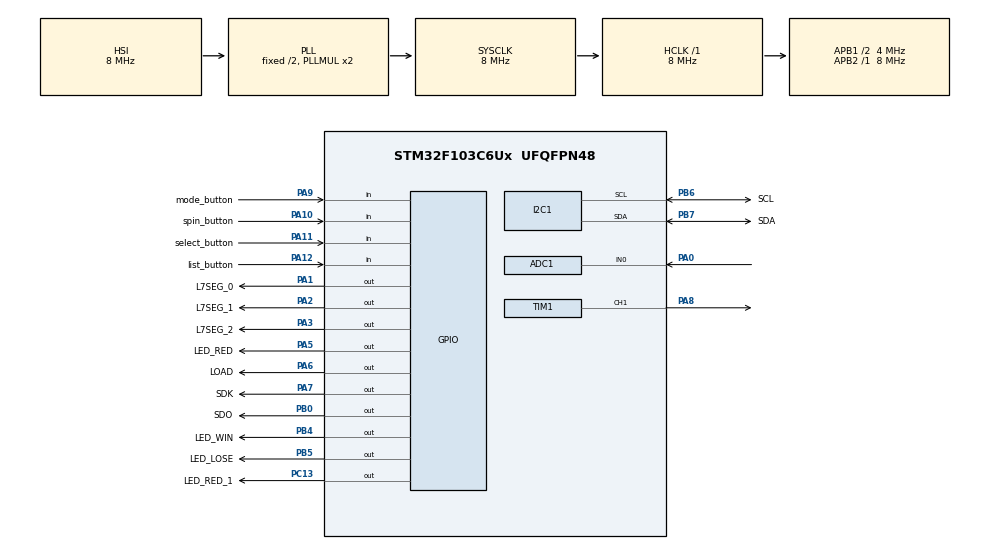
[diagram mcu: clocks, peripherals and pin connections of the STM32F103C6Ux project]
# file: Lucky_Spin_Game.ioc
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ADC1.Channel-3\#ChannelRegularConversion=ADC_CHANNEL_0
ADC1.ContinuousConvMode=ENABLE
ADC1.NbrOfConversionFlag=1
ADC1.Rank-3\#ChannelRegularConversion=1
ADC1.SamplingTime-3\#ChannelRegularConversion=ADC_SAMPLETIME_1CYCLE_5
ADC1.master=1
Mcu.Family=STM32F1
Mcu.Name=STM32F103C6Ux
Mcu.Package=UFQFPN48
NVIC.ADC1_2_IRQn=true\:0\:0\:false\:false\:true\:true\:true
NVIC.PriorityGroup=NVIC_PRIORITYGROUP_4
NVIC.TIM2_IRQn=true\:0\:0\:false\:false\:true\:true\:true
PA0-WKUP.Signal=ADCx_IN0
PA1.GPIO_Label=L7SEG_0
PA1.Signal=GPIO_Output
PA10.GPIO_Label=spin_button
PA10.GPIO_PuPd=GPIO_PULLUP
PA10.Signal=GPIO_Input
PA11.GPIO_Label=select_button
PA11.GPIO_PuPd=GPIO_PULLUP
PA11.Signal=GPIO_Input
PA12.GPIO_Label=list_button
PA12.GPIO_PuPd=GPIO_PULLUP
PA12.Signal=GPIO_Input
PA13.Mode=Serial_Wire
PA13.Signal=SYS_JTMS-SWDIO
PA14.Mode=Serial_Wire
PA14.Signal=SYS_JTCK-SWCLK
PA2.GPIO_Label=L7SEG_1
PA2.Signal=GPIO_Output
PA3.GPIO_Label=L7SEG_2
PA3.Signal=GPIO_Output
PA5.GPIO_Label=LED_RED
PA5.Signal=GPIO_Output
PA6.GPIO_Label=LOAD
PA6.Signal=GPIO_Output
PA7.GPIO_Label=SDK
PA7.Signal=GPIO_Output
PA8.Signal=S_TIM1_CH1
PA9.GPIO_Label=mode_button
PA9.GPIO_PuPd=GPIO_PULLUP
PA9.Signal=GPIO_Input
PB0.GPIO_Label=SDO
PB0.Signal=GPIO_Output
PB4.GPIO_Label=LED_WIN
PB4.Signal=GPIO_Output
PB5.GPIO_Label=LED_LOSE
PB5.Signal=GPIO_Output
PB6.GPIO_Label=SCL
PB6.Mode=I2C
PB6.Signal=I2C1_SCL
PB7.GPIO_Label=SDA
PB7.Mode=I2C
PB7.Signal=I2C1_SDA
PC13-TAMPER-RTC.GPIO_Label=LED_RED_1
PC13-TAMPER-RTC.Signal=GPIO_Output
ProjectManager.HeapSize=0x200
ProjectManager.StackSize=0x400
ProjectManager.TargetToolchain=STM32CubeIDE
RCC.ADCPresc=RCC_ADCPCLK2_DIV6
RCC.AHBFreq_Value=8000000
RCC.APB1CLKDivider=RCC_HCLK_DIV2
RCC.APB1Freq_Value=4000000
RCC.APB1TimFreq_Value=8000000
RCC.APB2Freq_Value=8000000
RCC.APB2TimFreq_Value=8000000
RCC.HCLKFreq_Value=8000000
RCC.SYSCLKFreq_VALUE=8000000
RCC.SYSCLKSource=RCC_SYSCLKSOURCE_PLLCLK
RCC.USBFreq_Value=8000000
SH.ADCx_IN0.0=ADC1_IN0,IN0
SH.S_TIM1_CH1.0=TIM1_CH1,PWM Generation1 CH1
TIM1.Channel-PWM\ Generation1\ CH1=TIM_CHANNEL_1
TIM1.Period=9999
TIM1.Prescaler=7
TIM2.Period=9
TIM2.Prescaler=7999
VP_TIM1_VS_ClockSourceINT.Mode=Internal
VP_TIM2_VS_ClockSourceINT.Mode=Internal
board=custom

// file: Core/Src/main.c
/* USER CODE BEGIN Header */
/**
  ******************************************************************************
  * @file           : main.c
  * @brief          : Main program body
  ******************************************************************************
  * @attention
  *
  * <h2><center>&copy; Copyright (c) 2026 STMicroelectronics.
  * All rights reserved.</center></h2>
  *
  * This software component is licensed by ST under BSD 3-Clause license,
  * the "License"; You may not use this file except in compliance with the
  * License. You may obtain a copy of the License at:
  *                        opensource.org/licenses/BSD-3-Clause
  *
  ******************************************************************************
  */
/* USER CODE END Header */
#include "main.h"

/* USER CODE BEGIN Includes */
#include "software_timer.h"
#include "button.h"
#include "random_gen.h"
#include "display_7SEG.h"
#include "logic_game.h"
#include "global.h"
#include "display_LCD.h"
#include "i2c_lcd.h"
#include "led_anounce.h"
#include "stm32f1xx_hal.h"
#include "string.h"
#include "buzzer.h"
/* USER CODE END Includes */

ADC_HandleTypeDef hadc1;

I2C_HandleTypeDef hi2c1;

TIM_HandleTypeDef htim1;
TIM_HandleTypeDef htim2;

void SystemClock_Config(void);
static void MX_GPIO_Init(void);
static void MX_TIM2_Init(void);
static void MX_ADC1_Init(void);
static void MX_I2C1_Init(void);
static void MX_TIM1_Init(void);

int main(void)
{

  /* MCU Configuration--------------------------------------------------------*/

  /* Reset of all peripherals, Initializes the Flash interface and the Systick. */
  HAL_Init();

  /* USER CODE BEGIN Init */
  Led_Announce_Init();
  Button_Init();
  HAL_Delay(100);
  /* USER CODE END Init */

  /* Configure the system clock */
  SystemClock_Config();

  /* Initialize all configured peripherals */
  MX_GPIO_Init();
  MX_TIM2_Init();
  MX_ADC1_Init();
  MX_I2C1_Init();
  MX_TIM1_Init();
  /* USER CODE BEGIN 2 */
  HAL_TIM_Base_Start_IT(&htim2);
  HAL_ADC_Start(&hadc1);

  display_init();
  HAL_GPIO_WritePin(LED_RED_GPIO_Port, LED_RED_Pin, SET);

  lcd_init();
  HAL_Delay(100);

  setTimer(TIMER_LED_BLINKY, 100);
  setTimer(TIMER_LOGIC_GAME, 100);

  lcd_clear_display();
  lcd_goto_XY(0, 5);
  lcd_send_string("Welcome To");

  lcd_goto_XY(2, 3);
  lcd_send_string("Lucky Spin Game");

  HAL_Delay(1000);
  lcd_clear_display();

  PlayWelcomeTune();
  /* USER CODE END 2 */

  /* Infinite loop */
  /* USER CODE BEGIN WHILE */
  while (1)
  {
	  Led_Announce_Process();
	  //led blinky
	  if(isTimerExpired(TIMER_LED_BLINKY) == 1){
		  HAL_GPIO_TogglePin(LED_RED_GPIO_Port, LED_RED_Pin);
		  setTimer(TIMER_LED_BLINKY, 1000);
	  }

	  if(isTimerExpired(TIMER_LOGIC_GAME) == 1){
		  logic_game();
		  Led_Announce_Process();
		  setTimer(TIMER_LOGIC_GAME, 10);
	  }
    /* USER CODE END WHILE */

  }
}

void SystemClock_Config(void)
{
  RCC_OscInitTypeDef RCC_OscInitStruct = {0};
  RCC_ClkInitTypeDef RCC_ClkInitStruct = {0};
  RCC_PeriphCLKInitTypeDef PeriphClkInit = {0};

  /** Initializes the RCC Oscillators according to the specified parameters
  * in the RCC_OscInitTypeDef structure.
  */
  RCC_OscInitStruct.OscillatorType = RCC_OSCILLATORTYPE_HSI;
  RCC_OscInitStruct.HSIState = RCC_HSI_ON;
  RCC_OscInitStruct.HSICalibrationValue = RCC_HSICALIBRATION_DEFAULT;
  RCC_OscInitStruct.PLL.PLLState = RCC_PLL_ON;
  RCC_OscInitStruct.PLL.PLLSource = RCC_PLLSOURCE_HSI_DIV2;
  RCC_OscInitStruct.PLL.PLLMUL = RCC_PLL_MUL2;
  if (HAL_RCC_OscConfig(&RCC_OscInitStruct) != HAL_OK)
  {
    Error_Handler();
  }
  /** Initializes the CPU, AHB and APB buses clocks
  */
  RCC_ClkInitStruct.ClockType = RCC_CLOCKTYPE_HCLK|RCC_CLOCKTYPE_SYSCLK
                              |RCC_CLOCKTYPE_PCLK1|RCC_CLOCKTYPE_PCLK2;
  RCC_ClkInitStruct.SYSCLKSource = RCC_SYSCLKSOURCE_PLLCLK;
  RCC_ClkInitStruct.AHBCLKDivider = RCC_SYSCLK_DIV1;
  RCC_ClkInitStruct.APB1CLKDivider = RCC_HCLK_DIV2;
  RCC_ClkInitStruct.APB2CLKDivider = RCC_HCLK_DIV1;

  if (HAL_RCC_ClockConfig(&RCC_ClkInitStruct, FLASH_LATENCY_0) != HAL_OK)
  {
    Error_Handler();
  }
  PeriphClkInit.PeriphClockSelection = RCC_PERIPHCLK_ADC;
  PeriphClkInit.AdcClockSelection = RCC_ADCPCLK2_DIV6;
  if (HAL_RCCEx_PeriphCLKConfig(&PeriphClkInit) != HAL_OK)
  {
    Error_Handler();
  }
}

static void MX_ADC1_Init(void)
{

  ADC_ChannelConfTypeDef sConfig = {0};

  /** Common config
  */
  hadc1.Instance = ADC1;
  hadc1.Init.ScanConvMode = ADC_SCAN_DISABLE;
  hadc1.Init.ContinuousConvMode = ENABLE;
  hadc1.Init.DiscontinuousConvMode = DISABLE;
  hadc1.Init.ExternalTrigConv = ADC_SOFTWARE_START;
  hadc1.Init.DataAlign = ADC_DATAALIGN_RIGHT;
  hadc1.Init.NbrOfConversion = 1;
  if (HAL_ADC_Init(&hadc1) != HAL_OK)
  {
    Error_Handler();
  }
  /** Configure Regular Channel
  */
  sConfig.Channel = ADC_CHANNEL_0;
  sConfig.Rank = ADC_REGULAR_RANK_1;
  sConfig.SamplingTime = ADC_SAMPLETIME_1CYCLE_5;
  if (HAL_ADC_ConfigChannel(&hadc1, &sConfig) != HAL_OK)
  {
    Error_Handler();
  }

}

static void MX_I2C1_Init(void)
{

  hi2c1.Instance = I2C1;
  hi2c1.Init.ClockSpeed = 100000;
  hi2c1.Init.DutyCycle = I2C_DUTYCYCLE_2;
  hi2c1.Init.OwnAddress1 = 0;
  hi2c1.Init.AddressingMode = I2C_ADDRESSINGMODE_7BIT;
  hi2c1.Init.DualAddressMode = I2C_DUALADDRESS_DISABLE;
  hi2c1.Init.OwnAddress2 = 0;
  hi2c1.Init.GeneralCallMode = I2C_GENERALCALL_DISABLE;
  hi2c1.Init.NoStretchMode = I2C_NOSTRETCH_DISABLE;
  if (HAL_I2C_Init(&hi2c1) != HAL_OK)
  {
    Error_Handler();
  }

}

static void MX_TIM1_Init(void)
{

  TIM_ClockConfigTypeDef sClockSourceConfig = {0};
  TIM_MasterConfigTypeDef sMasterConfig = {0};
  TIM_OC_InitTypeDef sConfigOC = {0};
  TIM_BreakDeadTimeConfigTypeDef sBreakDeadTimeConfig = {0};

  htim1.Instance = TIM1;
  htim1.Init.Prescaler = 7;
  htim1.Init.CounterMode = TIM_COUNTERMODE_UP;
  htim1.Init.Period = 9999;
  htim1.Init.ClockDivision = TIM_CLOCKDIVISION_DIV1;
  htim1.Init.RepetitionCounter = 0;
  htim1.Init.AutoReloadPreload = TIM_AUTORELOAD_PRELOAD_DISABLE;
  if (HAL_TIM_Base_Init(&htim1) != HAL_OK)
  {
    Error_Handler();
  }
  sClockSourceConfig.ClockSource = TIM_CLOCKSOURCE_INTERNAL;
  if (HAL_TIM_ConfigClockSource(&htim1, &sClockSourceConfig) != HAL_OK)
  {
    Error_Handler();
  }
  if (HAL_TIM_PWM_Init(&htim1) != HAL_OK)
  {
    Error_Handler();
  }
  sMasterConfig.MasterOutputTrigger = TIM_TRGO_RESET;
  sMasterConfig.MasterSlaveMode = TIM_MASTERSLAVEMODE_DISABLE;
  if (HAL_TIMEx_MasterConfigSynchronization(&htim1, &sMasterConfig) != HAL_OK)
  {
    Error_Handler();
  }
  sConfigOC.OCMode = TIM_OCMODE_PWM1;
  sConfigOC.Pulse = 0;
  sConfigOC.OCPolarity = TIM_OCPOLARITY_HIGH;
  sConfigOC.OCNPolarity = TIM_OCNPOLARITY_HIGH;
  sConfigOC.OCFastMode = TIM_OCFAST_DISABLE;
  sConfigOC.OCIdleState = TIM_OCIDLESTATE_RESET;
  sConfigOC.OCNIdleState = TIM_OCNIDLESTATE_RESET;
  if (HAL_TIM_PWM_ConfigChannel(&htim1, &sConfigOC, TIM_CHANNEL_1) != HAL_OK)
  {
    Error_Handler();
  }
  sBreakDeadTimeConfig.OffStateRunMode = TIM_OSSR_DISABLE;
  sBreakDeadTimeConfig.OffStateIDLEMode = TIM_OSSI_DISABLE;
  sBreakDeadTimeConfig.LockLevel = TIM_LOCKLEVEL_OFF;
  sBreakDeadTimeConfig.DeadTime = 0;
  sBreakDeadTimeConfig.BreakState = TIM_BREAK_DISABLE;
  sBreakDeadTimeConfig.BreakPolarity = TIM_BREAKPOLARITY_HIGH;
  sBreakDeadTimeConfig.AutomaticOutput = TIM_AUTOMATICOUTPUT_DISABLE;
  if (HAL_TIMEx_ConfigBreakDeadTime(&htim1, &sBreakDeadTimeConfig) != HAL_OK)
  {
    Error_Handler();
  }
  HAL_TIM_MspPostInit(&htim1);

}

static void MX_TIM2_Init(void)
{

  TIM_ClockConfigTypeDef sClockSourceConfig = {0};
  TIM_MasterConfigTypeDef sMasterConfig = {0};

  htim2.Instance = TIM2;
  htim2.Init.Prescaler = 7999;
  htim2.Init.CounterMode = TIM_COUNTERMODE_UP;
  htim2.Init.Period = 9;
  htim2.Init.ClockDivision = TIM_CLOCKDIVISION_DIV1;
  htim2.Init.AutoReloadPreload = TIM_AUTORELOAD_PRELOAD_DISABLE;
  if (HAL_TIM_Base_Init(&htim2) != HAL_OK)
  {
    Error_Handler();
  }
  sClockSourceConfig.ClockSource = TIM_CLOCKSOURCE_INTERNAL;
  if (HAL_TIM_ConfigClockSource(&htim2, &sClockSourceConfig) != HAL_OK)
  {
    Error_Handler();
  }
  sMasterConfig.MasterOutputTrigger = TIM_TRGO_RESET;
  sMasterConfig.MasterSlaveMode = TIM_MASTERSLAVEMODE_DISABLE;
  if (HAL_TIMEx_MasterConfigSynchronization(&htim2, &sMasterConfig) != HAL_OK)
  {
    Error_Handler();
  }

}

static void MX_GPIO_Init(void)
{
  GPIO_InitTypeDef GPIO_InitStruct = {0};

  /* GPIO Ports Clock Enable */
  __HAL_RCC_GPIOC_CLK_ENABLE();
  __HAL_RCC_GPIOA_CLK_ENABLE();
  __HAL_RCC_GPIOB_CLK_ENABLE();

  /*Configure GPIO pin Output Level */
  HAL_GPIO_WritePin(LED_RED_1_GPIO_Port, LED_RED_1_Pin, GPIO_PIN_RESET);

  /*Configure GPIO pin Output Level */
  HAL_GPIO_WritePin(GPIOA, L7SEG_0_Pin|L7SEG_1_Pin|L7SEG_2_Pin|LED_RED_Pin
                          |LOAD_Pin|SDK_Pin, GPIO_PIN_RESET);

  /*Configure GPIO pin Output Level */
  HAL_GPIO_WritePin(GPIOB, SDO_Pin|LED_WIN_Pin|LED_LOSE_Pin, GPIO_PIN_RESET);

  /*Configure GPIO pin : LED_RED_1_Pin */
  GPIO_InitStruct.Pin = LED_RED_1_Pin;
  GPIO_InitStruct.Mode = GPIO_MODE_OUTPUT_PP;
  GPIO_InitStruct.Pull = GPIO_NOPULL;
  GPIO_InitStruct.Speed = GPIO_SPEED_FREQ_LOW;
  HAL_GPIO_Init(LED_RED_1_GPIO_Port, &GPIO_InitStruct);

  /*Configure GPIO pins : L7SEG_0_Pin L7SEG_1_Pin L7SEG_2_Pin LED_RED_Pin
                           LOAD_Pin SDK_Pin */
  GPIO_InitStruct.Pin = L7SEG_0_Pin|L7SEG_1_Pin|L7SEG_2_Pin|LED_RED_Pin
                          |LOAD_Pin|SDK_Pin;
  GPIO_InitStruct.Mode = GPIO_MODE_OUTPUT_PP;
  GPIO_InitStruct.Pull = GPIO_NOPULL;
  GPIO_InitStruct.Speed = GPIO_SPEED_FREQ_LOW;
  HAL_GPIO_Init(GPIOA, &GPIO_InitStruct);

  /*Configure GPIO pins : SDO_Pin LED_WIN_Pin LED_LOSE_Pin */
  GPIO_InitStruct.Pin = SDO_Pin|LED_WIN_Pin|LED_LOSE_Pin;
  GPIO_InitStruct.Mode = GPIO_MODE_OUTPUT_PP;
  GPIO_InitStruct.Pull = GPIO_NOPULL;
  GPIO_InitStruct.Speed = GPIO_SPEED_FREQ_LOW;
  HAL_GPIO_Init(GPIOB, &GPIO_InitStruct);

  /*Configure GPIO pins : mode_button_Pin spin_button_Pin select_button_Pin list_button_Pin */
  GPIO_InitStruct.Pin = mode_button_Pin|spin_button_Pin|select_button_Pin|list_button_Pin;
  GPIO_InitStruct.Mode = GPIO_MODE_INPUT;
  GPIO_InitStruct.Pull = GPIO_PULLUP;
  HAL_GPIO_Init(GPIOA, &GPIO_InitStruct);

}

/* USER CODE BEGIN 4 */
void HAL_TIM_PeriodElapsedCallback(TIM_HandleTypeDef *htim){
	timerRun();
	getKeyInput();
}
/* USER CODE END 4 */

void Error_Handler(void)
{
  __disable_irq();
  while (1)
  {
  }
}

/************************ (C) COPYRIGHT STMicroelectronics *****END OF FILE****/
